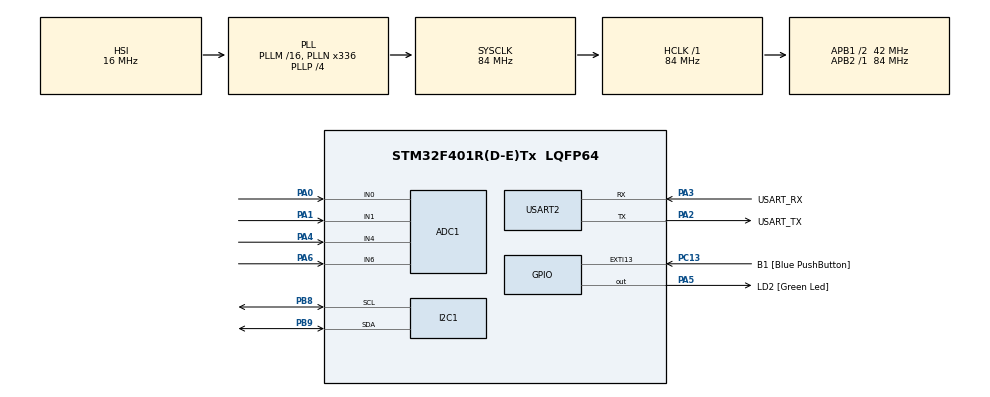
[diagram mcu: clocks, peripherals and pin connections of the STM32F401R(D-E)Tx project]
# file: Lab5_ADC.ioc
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ADC1.Channel-0\#ChannelRegularConversion=ADC_CHANNEL_0
ADC1.Channel-1\#ChannelRegularConversion=ADC_CHANNEL_1
ADC1.Channel-2\#ChannelRegularConversion=ADC_CHANNEL_4
ADC1.Channel-3\#ChannelRegularConversion=ADC_CHANNEL_6
ADC1.ContinuousConvMode=ENABLE
ADC1.NbrOfConversion=4
ADC1.NbrOfConversionFlag=1
ADC1.Rank-0\#ChannelRegularConversion=1
ADC1.Rank-1\#ChannelRegularConversion=2
ADC1.Rank-2\#ChannelRegularConversion=3
ADC1.Rank-3\#ChannelRegularConversion=4
ADC1.SamplingTime-0\#ChannelRegularConversion=ADC_SAMPLETIME_480CYCLES
ADC1.SamplingTime-1\#ChannelRegularConversion=ADC_SAMPLETIME_480CYCLES
ADC1.SamplingTime-2\#ChannelRegularConversion=ADC_SAMPLETIME_480CYCLES
ADC1.SamplingTime-3\#ChannelRegularConversion=ADC_SAMPLETIME_480CYCLES
ADC1.ScanConvMode=ENABLE
ADC1.master=1
Mcu.Family=STM32F4
Mcu.Name=STM32F401R(D-E)Tx
Mcu.Package=LQFP64
NVIC.ADC_IRQn=true\:0\:0\:false\:false\:true\:true\:true\:true
NVIC.PriorityGroup=NVIC_PRIORITYGROUP_0
PA0-WKUP.Signal=ADCx_IN0
PA1.Signal=ADCx_IN1
PA13.GPIO_Label=TMS
PA13.Mode=Serial_Wire
PA13.Signal=SYS_JTMS-SWDIO
PA14.GPIO_Label=TCK
PA14.Mode=Serial_Wire
PA14.Signal=SYS_JTCK-SWCLK
PA2.GPIO_Label=USART_TX
PA2.GPIO_Mode=GPIO_MODE_AF_PP
PA2.GPIO_PuPd=GPIO_NOPULL
PA2.GPIO_Speed=GPIO_SPEED_FREQ_LOW
PA2.Mode=Asynchronous
PA2.Signal=USART2_TX
PA3.GPIO_Label=USART_RX
PA3.GPIO_Mode=GPIO_MODE_AF_PP
PA3.GPIO_PuPd=GPIO_NOPULL
PA3.GPIO_Speed=GPIO_SPEED_FREQ_LOW
PA3.Mode=Asynchronous
PA3.Signal=USART2_RX
PA4.Signal=ADCx_IN4
PA5.GPIO_Label=LD2 [Green Led]
PA5.GPIO_Mode=GPIO_MODE_OUTPUT_PP
PA5.GPIO_PuPd=GPIO_NOPULL
PA5.GPIO_Speed=GPIO_SPEED_FREQ_LOW
PA5.Signal=GPIO_Output
PA6.Signal=ADCx_IN6
PB3.GPIO_Label=SWO
PB3.Signal=SYS_JTDO-SWO
PB8.Mode=I2C
PB8.Signal=I2C1_SCL
PB9.Mode=I2C
PB9.Signal=I2C1_SDA
PC13-ANTI_TAMP.GPIO_Label=B1 [Blue PushButton]
PC13-ANTI_TAMP.GPIO_ModeDefaultEXTI=GPIO_MODE_IT_FALLING
PC13-ANTI_TAMP.GPIO_PuPd=GPIO_NOPULL
PC13-ANTI_TAMP.Signal=GPXTI13
PC14-OSC32_IN.Mode=LSE-External-Oscillator
PC14-OSC32_IN.Signal=RCC_OSC32_IN
PC15-OSC32_OUT.Mode=LSE-External-Oscillator
PC15-OSC32_OUT.Signal=RCC_OSC32_OUT
PH0\ -\ OSC_IN.Mode=HSE-External-Clock-Source
PH0\ -\ OSC_IN.Signal=RCC_OSC_IN
PH1\ -\ OSC_OUT.Mode=HSE-External-Clock-Source
PH1\ -\ OSC_OUT.Signal=RCC_OSC_OUT
ProjectManager.HeapSize=0x200
ProjectManager.StackSize=0x400
ProjectManager.TargetToolchain=STM32CubeIDE
RCC.48MHZClocksFreq_Value=48000000
RCC.AHBFreq_Value=84000000
RCC.APB1CLKDivider=RCC_HCLK_DIV2
RCC.APB1Freq_Value=42000000
RCC.APB1TimFreq_Value=84000000
RCC.APB2Freq_Value=84000000
RCC.APB2TimFreq_Value=84000000
RCC.CortexFreq_Value=84000000
RCC.HCLKFreq_Value=84000000
RCC.HSE_VALUE=8000000
RCC.HSI_VALUE=16000000
RCC.PLLN=336
RCC.PLLP=RCC_PLLP_DIV4
RCC.PLLQ=7
RCC.SYSCLKFreq_VALUE=84000000
RCC.SYSCLKSource=RCC_SYSCLKSOURCE_PLLCLK
RCC.VCOOutputFreq_Value=336000000
SH.ADCx_IN0.0=ADC1_IN0,IN0
SH.ADCx_IN1.0=ADC1_IN1,IN1
SH.ADCx_IN4.0=ADC1_IN4,IN4
SH.ADCx_IN6.0=ADC1_IN6,IN6
TIM2.Prescaler=84-1
USART2.VirtualMode=VM_ASYNC
VP_TIM2_VS_ClockSourceINT.Mode=Internal
board=NUCLEO-F401RE

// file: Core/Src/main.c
/* USER CODE BEGIN Header */
/**
 ******************************************************************************
 * @file           : main.c
 * @brief          : Main program body
 ******************************************************************************
 * @attention
 *
 * Copyright (c) 2024 STMicroelectronics.
 * All rights reserved.
 *
 * This software is licensed under terms that can be found in the LICENSE file
 * in the root directory of this software component.
 * If no LICENSE file comes with this software, it is provided AS-IS.
 *
 ******************************************************************************
 */
/* USER CODE END Header */
#include "main.h"

/* USER CODE BEGIN Includes */
#include "lcd.h"
#include <stdio.h>
/* USER CODE END Includes */

ADC_HandleTypeDef hadc1;

I2C_HandleTypeDef hi2c1;

TIM_HandleTypeDef htim2;

UART_HandleTypeDef huart2;

void SystemClock_Config(void);
static void MX_GPIO_Init(void);
static void MX_USART2_UART_Init(void);
static void MX_ADC1_Init(void);
static void MX_I2C1_Init(void);
static void MX_TIM2_Init(void);

/* USER CODE BEGIN 0 */
int call_ready = 0; // Variabel som håller reda på hur många ADC-omvandlingar som är klara för avläsning
int interrupt_handler = 0; // Variabel som håller reda på vilken ADC-omvandling som senast blev klar
#define ADC_BUF_SIZE 4 //Storleken på ADC-bufferen, antal kanaler
uint16_t adc_buffer[ADC_BUF_SIZE]; // Buffer för att lagra ADC-värden
int adc_buf_ix = 0; // Index för att hålla reda på vilket ADC-värde som ska läsas nästa gång
#define JOY_X_IX 0
#define JOY_Y_IX 1
#define LM35_IX 2
#define FOTO_R 3
char str[25];
TextLCDType hlcd;
// Läser en ADC-omvandling
uint16_t read_one_adc_value(ADC_HandleTypeDef * hadc)
{
	HAL_ADC_Start(hadc);
	HAL_ADC_PollForConversion(hadc, 100);
	uint32_t reading = HAL_ADC_GetValue(hadc);
	HAL_ADC_Stop(hadc);
	return (uint16_t) reading;
}
// Normaliserar en 12-bitars ADC-värde till ett flyttal mellan 0 och 1
float normalize_12bit(uint16_t x){
	return (x/4095.0);
}
// Normaliserar ett 12-bitars ADC-värde till ett flyttal mellan -1 och 1
float normalize_12bit_posneg(uint16_t x){
	return (((x +1)/ 2048.0)-1);
}
// Callback-funktion som anropas när en ADC-omvandling är klar
void HAL_ADC_ConvCpltCallback( ADC_HandleTypeDef *hadc) {
	adc_buffer[interrupt_handler] = HAL_ADC_GetValue(hadc);
	interrupt_handler = (interrupt_handler + 1) % ADC_BUF_SIZE;
	if(interrupt_handler == 0)
		call_ready += 1;
}
// Konverterar ett LM35-ADC-värde till grader Celsius

float lm35_to_celsius(uint16_t lm35_reading){
	return (lm35_reading *3.3 / (4095*0.01));
}
// Konverterar ett fotoresistor-ADC-värde till en ljusstyrka
float  fotoresistorn( uint32_t x)
{
    return (x* 0.1);
}
void displayX()
{
	sprintf(str, "%+1.2f%c", normalize_12bit_posneg( adc_buffer[JOY_X_IX] ), 'x' );
	TextLCD_Position(&hlcd, 0, 0);
	TextLCD_PutStr(&hlcd, str);
}

void displayY()
{
	sprintf(str, "%+1.2f%c", normalize_12bit_posneg( adc_buffer[JOY_Y_IX] ), 'y' );
	TextLCD_Position(&hlcd, 0, 1);
	TextLCD_PutStr(&hlcd, str);
}
void displayT()
{
	sprintf(str, "%+4.f%c", lm35_to_celsius( adc_buffer[LM35_IX] ), 'C' );
	TextLCD_Position(&hlcd, 10, 0);
	TextLCD_PutStr(&hlcd, str);
}

void displayL()
{
	sprintf(str, "%+4.f%c", ( fotoresistorn(adc_buffer[FOTO_R] )) , 'L' );
	TextLCD_Position(&hlcd, 10, 1);
	TextLCD_PutStr(&hlcd, str);
}
/* USER CODE END 0 */

int main(void)
{

	/* MCU Configuration--------------------------------------------------------*/

	/* Reset of all peripherals, Initializes the Flash interface and the Systick. */
	HAL_Init();

	/* Configure the system clock */
	SystemClock_Config();

	/* Initialize all configured peripherals */
	MX_GPIO_Init();
	MX_USART2_UART_Init();
	MX_ADC1_Init();
	MX_I2C1_Init();
	MX_TIM2_Init();

	/* Infinite loop */
	/* USER CODE BEGIN WHILE */
	TextLCD_Init(&hlcd, &hi2c1, 0x4E);
	while (1)
	{
		HAL_ADC_Start_IT(&hadc1);

		while(call_ready)
		{
			displayX();
			displayY();
			displayT();
			displayL();
			call_ready -= 1;
		}

		/* USER CODE END WHILE */

	}
}

void SystemClock_Config(void)
{
	RCC_OscInitTypeDef RCC_OscInitStruct = {0};
	RCC_ClkInitTypeDef RCC_ClkInitStruct = {0};

	/** Configure the main internal regulator output voltage
	 */
	__HAL_RCC_PWR_CLK_ENABLE();
	__HAL_PWR_VOLTAGESCALING_CONFIG(PWR_REGULATOR_VOLTAGE_SCALE2);

	/** Initializes the RCC Oscillators according to the specified parameters
	 * in the RCC_OscInitTypeDef structure.
	 */
	RCC_OscInitStruct.OscillatorType = RCC_OSCILLATORTYPE_HSI;
	RCC_OscInitStruct.HSIState = RCC_HSI_ON;
	RCC_OscInitStruct.HSICalibrationValue = RCC_HSICALIBRATION_DEFAULT;
	RCC_OscInitStruct.PLL.PLLState = RCC_PLL_ON;
	RCC_OscInitStruct.PLL.PLLSource = RCC_PLLSOURCE_HSI;
	RCC_OscInitStruct.PLL.PLLM = 16;
	RCC_OscInitStruct.PLL.PLLN = 336;
	RCC_OscInitStruct.PLL.PLLP = RCC_PLLP_DIV4;
	RCC_OscInitStruct.PLL.PLLQ = 7;
	if (HAL_RCC_OscConfig(&RCC_OscInitStruct) != HAL_OK)
	{
		Error_Handler();
	}

	/** Initializes the CPU, AHB and APB buses clocks
	 */
	RCC_ClkInitStruct.ClockType = RCC_CLOCKTYPE_HCLK|RCC_CLOCKTYPE_SYSCLK
			|RCC_CLOCKTYPE_PCLK1|RCC_CLOCKTYPE_PCLK2;
	RCC_ClkInitStruct.SYSCLKSource = RCC_SYSCLKSOURCE_PLLCLK;
	RCC_ClkInitStruct.AHBCLKDivider = RCC_SYSCLK_DIV1;
	RCC_ClkInitStruct.APB1CLKDivider = RCC_HCLK_DIV2;
	RCC_ClkInitStruct.APB2CLKDivider = RCC_HCLK_DIV1;

	if (HAL_RCC_ClockConfig(&RCC_ClkInitStruct, FLASH_LATENCY_2) != HAL_OK)
	{
		Error_Handler();
	}
}

static void MX_ADC1_Init(void)
{

	ADC_ChannelConfTypeDef sConfig = {0};

	/** Configure the global features of the ADC (Clock, Resolution, Data Alignment and number of conversion)
	 */
	hadc1.Instance = ADC1;
	hadc1.Init.ClockPrescaler = ADC_CLOCK_SYNC_PCLK_DIV4;
	hadc1.Init.Resolution = ADC_RESOLUTION_12B;
	hadc1.Init.ScanConvMode = ENABLE;
	hadc1.Init.ContinuousConvMode = ENABLE;
	hadc1.Init.DiscontinuousConvMode = DISABLE;
	hadc1.Init.ExternalTrigConvEdge = ADC_EXTERNALTRIGCONVEDGE_NONE;
	hadc1.Init.ExternalTrigConv = ADC_SOFTWARE_START;
	hadc1.Init.DataAlign = ADC_DATAALIGN_RIGHT;
	hadc1.Init.NbrOfConversion = 4;
	hadc1.Init.DMAContinuousRequests = DISABLE;
	hadc1.Init.EOCSelection = ADC_EOC_SINGLE_CONV;
	if (HAL_ADC_Init(&hadc1) != HAL_OK)
	{
		Error_Handler();
	}

	/** Configure for the selected ADC regular channel its corresponding rank in the sequencer and its sample time.
	 */
	sConfig.Channel = ADC_CHANNEL_0;
	sConfig.Rank = 1;
	sConfig.SamplingTime = ADC_SAMPLETIME_480CYCLES;
	if (HAL_ADC_ConfigChannel(&hadc1, &sConfig) != HAL_OK)
	{
		Error_Handler();
	}

	/** Configure for the selected ADC regular channel its corresponding rank in the sequencer and its sample time.
	 */
	sConfig.Channel = ADC_CHANNEL_1;
	sConfig.Rank = 2;
	if (HAL_ADC_ConfigChannel(&hadc1, &sConfig) != HAL_OK)
	{
		Error_Handler();
	}

	/** Configure for the selected ADC regular channel its corresponding rank in the sequencer and its sample time.
	 */
	sConfig.Channel = ADC_CHANNEL_4;
	sConfig.Rank = 3;
	if (HAL_ADC_ConfigChannel(&hadc1, &sConfig) != HAL_OK)
	{
		Error_Handler();
	}

	/** Configure for the selected ADC regular channel its corresponding rank in the sequencer and its sample time.
	 */
	sConfig.Channel = ADC_CHANNEL_6;
	sConfig.Rank = 4;
	if (HAL_ADC_ConfigChannel(&hadc1, &sConfig) != HAL_OK)
	{
		Error_Handler();
	}

}

static void MX_I2C1_Init(void)
{

	hi2c1.Instance = I2C1;
	hi2c1.Init.ClockSpeed = 100000;
	hi2c1.Init.DutyCycle = I2C_DUTYCYCLE_2;
	hi2c1.Init.OwnAddress1 = 0;
	hi2c1.Init.AddressingMode = I2C_ADDRESSINGMODE_7BIT;
	hi2c1.Init.DualAddressMode = I2C_DUALADDRESS_DISABLE;
	hi2c1.Init.OwnAddress2 = 0;
	hi2c1.Init.GeneralCallMode = I2C_GENERALCALL_DISABLE;
	hi2c1.Init.NoStretchMode = I2C_NOSTRETCH_DISABLE;
	if (HAL_I2C_Init(&hi2c1) != HAL_OK)
	{
		Error_Handler();
	}

}

static void MX_TIM2_Init(void)
{

	TIM_ClockConfigTypeDef sClockSourceConfig = {0};
	TIM_MasterConfigTypeDef sMasterConfig = {0};

	htim2.Instance = TIM2;
	htim2.Init.Prescaler = 84-1;
	htim2.Init.CounterMode = TIM_COUNTERMODE_UP;
	htim2.Init.Period = 4294967295;
	htim2.Init.ClockDivision = TIM_CLOCKDIVISION_DIV1;
	htim2.Init.AutoReloadPreload = TIM_AUTORELOAD_PRELOAD_DISABLE;
	if (HAL_TIM_Base_Init(&htim2) != HAL_OK)
	{
		Error_Handler();
	}
	sClockSourceConfig.ClockSource = TIM_CLOCKSOURCE_INTERNAL;
	if (HAL_TIM_ConfigClockSource(&htim2, &sClockSourceConfig) != HAL_OK)
	{
		Error_Handler();
	}
	sMasterConfig.MasterOutputTrigger = TIM_TRGO_RESET;
	sMasterConfig.MasterSlaveMode = TIM_MASTERSLAVEMODE_DISABLE;
	if (HAL_TIMEx_MasterConfigSynchronization(&htim2, &sMasterConfig) != HAL_OK)
	{
		Error_Handler();
	}

}

static void MX_USART2_UART_Init(void)
{

	huart2.Instance = USART2;
	huart2.Init.BaudRate = 115200;
	huart2.Init.WordLength = UART_WORDLENGTH_8B;
	huart2.Init.StopBits = UART_STOPBITS_1;
	huart2.Init.Parity = UART_PARITY_NONE;
	huart2.Init.Mode = UART_MODE_TX_RX;
	huart2.Init.HwFlowCtl = UART_HWCONTROL_NONE;
	huart2.Init.OverSampling = UART_OVERSAMPLING_16;
	if (HAL_UART_Init(&huart2) != HAL_OK)
	{
		Error_Handler();
	}

}

static void MX_GPIO_Init(void)
{
	GPIO_InitTypeDef GPIO_InitStruct = {0};

	/* GPIO Ports Clock Enable */
	__HAL_RCC_GPIOC_CLK_ENABLE();
	__HAL_RCC_GPIOH_CLK_ENABLE();
	__HAL_RCC_GPIOA_CLK_ENABLE();
	__HAL_RCC_GPIOB_CLK_ENABLE();

	/*Configure GPIO pin Output Level */
	HAL_GPIO_WritePin(LD2_GPIO_Port, LD2_Pin, GPIO_PIN_RESET);

	/*Configure GPIO pin : B1_Pin */
	GPIO_InitStruct.Pin = B1_Pin;
	GPIO_InitStruct.Mode = GPIO_MODE_IT_FALLING;
	GPIO_InitStruct.Pull = GPIO_NOPULL;
	HAL_GPIO_Init(B1_GPIO_Port, &GPIO_InitStruct);

	/*Configure GPIO pin : LD2_Pin */
	GPIO_InitStruct.Pin = LD2_Pin;
	GPIO_InitStruct.Mode = GPIO_MODE_OUTPUT_PP;
	GPIO_InitStruct.Pull = GPIO_NOPULL;
	GPIO_InitStruct.Speed = GPIO_SPEED_FREQ_LOW;
	HAL_GPIO_Init(LD2_GPIO_Port, &GPIO_InitStruct);

}

void Error_Handler(void)
{
	__disable_irq();
	while (1)
	{
	}
}
